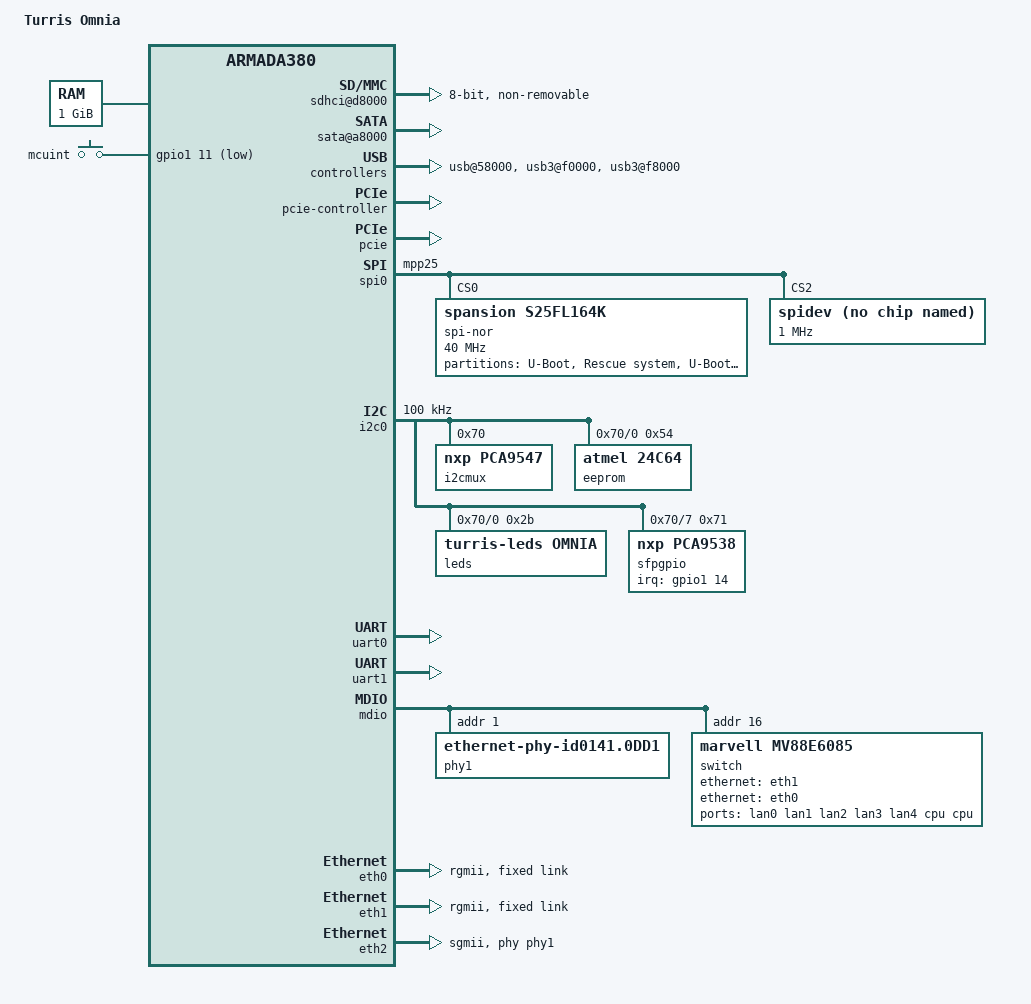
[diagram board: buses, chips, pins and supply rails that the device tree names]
/dts-v1/;

#include <dt-bindings/gpio/gpio.h>
#include <dt-bindings/input/input.h>
#include "armada-385.dtsi"

/ {
	model = "Turris Omnia";
	compatible = "marvell,armada385","marvell,armada380";

	chosen {
		bootargs = "console=ttyS0,115200";
		stdout-path = &uart0;
	};

	aliases {
		ethernet0 = &eth0;
		ethernet1 = &eth1;
		ethernet2 = &eth2;
	};

	memory {
		device_type = "memory";
		reg = <0x00000000 0x40000000>; /* 1024 MB */
	};

	soc {
		ranges = <MBUS_ID(0xf0, 0x01) 0 0xf1000000 0x100000
			  MBUS_ID(0x01, 0x1d) 0 0xfff00000 0x100000
			  MBUS_ID(0x09, 0x19) 0 0xf1100000 0x10000
			  MBUS_ID(0x09, 0x15) 0 0xf1110000 0x10000>;

		internal-regs {
			sdhci@d8000 {
				status = "okay";
				bus-width = <8>;
				no-1-8-v;
				non-removable;
			};

			sata@a8000 {
				status = "okay";
			};

			/* USB part of the eSATA/USB 2.0 port */
			usb@58000 {
				status = "okay";
			};

			/* 2x external USB3 */
			usb3@f0000 {
				status = "okay";
			};

			usb3@f8000 {
				status = "okay";
			};
		};

		pcie-controller {
			status = "okay";

			pcie@1,0 {
				/* Port 0, Lane 0 */
				status = "okay";
			};

			pcie@2,0 {
				/* Port 2, Lane 0 */
				status = "okay";
			};

			pcie@3,0 {
				/* Port 3, Lane 0 */
				status = "okay";
			};

		};
	};

	gpio-keys {
		compatible = "gpio-keys";
		#address-cells = <1>;
		#size-cells = <0>;

		button@212 {
			label = "mcuint";
			linux,code = <BTN_MISC>;
			gpios = <&gpio1 11 GPIO_ACTIVE_LOW>;
			debounce-interval = <0>;
		};
	};

	mvsw61xx {
		status = "okay";
		compatible = "marvell,88e6176";
		reg = <0x10>;
		is-indirect;
		mii-bus = <&mdio>;
		cpu-port-0 = <5>;
		cpu-port-1 = <6>;

		/* IRQ connected to MPP45. */
		/* interrupt-parent = <&gpio1>;
		interrupts = <13 IRQ_TYPE_LEVEL_LOW>; */
	};
};

&spi0 {
	status = "okay";

	spi-nor@0 {
		compatible = "spansion,s25fl164k", "jedec,spi-nor";
		#address-cells = <1>;
		#size-cells = <1>;
		reg = <0>;
		spi-max-frequency = <40000000>;

		partition@0 {
			reg = <0x0 0x00100000>;
			label = "U-Boot";
		};
		partition@1 {
			reg = <0x00100000 0x00700000>;
			label = "Rescue system";
		};

	};
	spidev@2 {
		spi-max-frequency = <1000000>;
		reg = <2>;
		compatible = "linux,spidev";
	};
};

&i2c0 {
	pinctrl-names = "default";
	pinctrl-0 = <&i2c0_pins>;
	status = "okay";
	clock-frequency = <100000>;

	i2cmux@70 {
		compatible = "nxp,pca9547";
		#address-cells = <1>;
		#size-cells = <0>;
		reg = <0x70>;
		status = "okay";
		i2c@0 {
			#address-cells = <1>;
			#size-cells = <0>;
			reg = <0>;
			status = "okay";

			/* Config memory */
			eeprom@54 {
				compatible = "at,24c64";
				reg = <0x54>;
			};

			/* Additional device: STM-32, address 0x2a, INT on 43. */
			leds@2b {
				compatible = "turris-leds,omnia";
				reg = <0x2b>;
				#address-cells = <1>;
				#size-cells = <0>;

				led0 {
					label = "user2";
					reg = <0x0>;
				};

				led1 {
					label = "user1";
					reg = <0x1>;
				};

				led2 {
					label = "pci3";
					reg = <0x2>;
				};

				led3 {
					label = "pci2";
					reg = <0x3>;
				};

				led4 {
					label = "pci1";
					reg = <0x4>;
				};

				led5 {
					label = "wan";
					reg = <0x5>;
				};

				led6 {
					label = "lan4";
					reg = <0x6>;
				};

				led7 {
					label = "lan3";
					reg = <0x7>;
				};

				led8 {
					label = "lan2";
					reg = <0x8>;
				};

				led9 {
					label = "lan1";
					reg = <0x9>;
				};

				led10 {
					label = "lan0";
					reg = <0xa>;
				};

				led11 {
					label = "power";
					reg = <0xb>;
				};

				led12 {
					label = "all";
					reg = <0xc>;
				};
			};
		};

		i2c@1 {
			/* SATA */
			#address-cells = <1>;
			#size-cells = <0>;
			reg = <1>;
		};

		i2c@2 {
			/* PCI 1 */
			#address-cells = <1>;
			#size-cells = <0>;
			reg = <2>;
		};

		i2c@3 {
			/* PCI 0 */
			#address-cells = <1>;
			#size-cells = <0>;
			reg = <3>;
		};

		i2c@4 {
			/* SFP */
			#address-cells = <1>;
			#size-cells = <0>;
			reg = <4>;
		};

		i2c@5 {
			/* ATSHA */
			#address-cells = <1>;
			#size-cells = <0>;
			reg = <5>;
		};

		i2c@6 {
			/* User GPIO header */
			#address-cells = <1>;
			#size-cells = <0>;
			reg = <6>;
		};

		i2c@7 {
			/* SFP+ GPIO expander */
			#address-cells = <1>;
			#size-cells = <0>;
			reg = <7>;

			sfpgpio: gpio@71 {
				compatible = "nxp,pca9538";
				reg = <0x71>;
				interrupt-parent = <&gpio1>;
				interrupts = <14 IRQ_TYPE_LEVEL_LOW>;
				gpio-controller;
				#gpio-cells = <2>;
			};
		};
	};
};

&uart0 {
	pinctrl-names = "default";
	pinctrl-0 = <&uart0_pins>;
	status = "okay";
};

&uart1 {
	pinctrl-names = "default";
	pinctrl-0 = <&uart1_pins>;
	status = "okay";
};

&mdio {
	status = "okay";

	phy1: phy@1 {
		status = "okay";
		compatible = "marvell,88E1514", "marvell,88E1510", "ethernet-phy-ieee802.3-c22";
		reg = <1>;
		/* IRQ connected to MPP46. */
		/* interrupt-parent = <&gpio1>;
		interrupts = <14 IRQ_TYPE_LEVEL_LOW>; */
	};
};

&eth0 {
	status = "okay";
	pinctrl-0 = <&ge0_rgmii_pins>;
	phy-mode = "rgmii-id";

	fixed-link {
		speed = <1000>;
		full-duplex;
	};
};

&eth1 {
	status = "okay";
	pinctrl-0 = <&ge1_rgmii_pins>;
	phy-mode = "rgmii-id";

	fixed-link {
		speed = <1000>;
		full-duplex;
	};
};

&eth2 {
	status = "okay";

	phy-def {
		phy-mode = "sgmii";
		phy = <&phy1>;
	};

	phy-sfp {
		phy-mode = "sgmii";
		managed = "1000base-x";

		fixed-link {
			speed = <1000>;
			full-duplex;
		};
	};

	phy-sfp-noneg {
		phy-mode = "sgmii";
		managed = "1000base-x-noneg";

		fixed-link {
			speed = <1000>;
			full-duplex;
		};
	};

	phy-sfp-sgmii {
		phy-mode = "sgmii";
		managed = "in-band-status";

		fixed-link {
			speed = <1000>;
			full-duplex;
		};
	};
};

&pinctrl {
	user_pin: user-pin {
		marvell,pins = "mpp18", "mpp33", "mpp34", "mpp35", "mpp36",
				"mpp42", "mpp44", "mpp47", "mpp51", "mpp56";
		marvell,function = "gpio";
	};
};

/*
 * Device Tree file for the Turris Omnia
 *
 * Copyright (C) 2016 Uwe Kleine-König <uwe@kleine-koenig.org>
 * Copyright (C) 2016 Tomas Hlavacek <tmshlvkc@gmail.com>
 *
 * This file is dual-licensed: you can use it either under the terms
 * of the GPL or the X11 license, at your option. Note that this dual
 * licensing only applies to this file, and not this project as a
 * whole.
 *
 *  a) This file is licensed under the terms of the GNU General Public
 *     License version 2.  This program is licensed "as is" without
 *     any warranty of any kind, whether express or implied.
 *
 * Or, alternatively,
 *
 *  b) Permission is hereby granted, free of charge, to any person
 *     obtaining a copy of this software and associated documentation
 *     files (the "Software"), to deal in the Software without
 *     restriction, including without limitation the rights to use,
 *     copy, modify, merge, publish, distribute, sublicense, and/or
 *     sell copies of the Software, and to permit persons to whom the
 *     Software is furnished to do so, subject to the following
 *     conditions:
 *
 *     The above copyright notice and this permission notice shall be
 *     included in all copies or substantial portions of the Software.
 *
 *     THE SOFTWARE IS PROVIDED "AS IS", WITHOUT WARRANTY OF ANY KIND,
 *     EXPRESS OR IMPLIED, INCLUDING BUT NOT LIMITED TO THE WARRANTIES
 *     OF MERCHANTABILITY, FITNESS FOR A PARTICULAR PURPOSE AND
 *     NONINFRINGEMENT. IN NO EVENT SHALL THE AUTHORS OR COPYRIGHT
 *     HOLDERS BE LIABLE FOR ANY CLAIM, DAMAGES OR OTHER LIABILITY,
 *     WHETHER IN AN ACTION OF CONTRACT, TORT OR OTHERWISE, ARISING
 *     FROM, OUT OF OR IN CONNECTION WITH THE SOFTWARE OR THE USE OR
 *     OTHER DEALINGS IN THE SOFTWARE.
 */

/*
 * Schematic available at https://www.turris.cz/doc/_media/rtrom01-schema.pdf
 */

/dts-v1/;

#include <dt-bindings/gpio/gpio.h>
#include <dt-bindings/input/input.h>
#include "armada-385.dtsi"

/ {
	model = "Turris Omnia";
	compatible = "cznic,turris-omnia", "marvell,armada385", "marvell,armada380";

	chosen {
		stdout-path = &uart0;
	};

	memory {
		device_type = "memory";
		reg = <0x00000000 0x40000000>; /* 1024 MB */
	};

	soc {
		ranges = <MBUS_ID(0xf0, 0x01) 0 0xf1000000 0x100000
			  MBUS_ID(0x01, 0x1d) 0 0xfff00000 0x100000
			  MBUS_ID(0x09, 0x19) 0 0xf1100000 0x10000
			  MBUS_ID(0x09, 0x15) 0 0xf1110000 0x10000>;

		internal-regs {

			/* USB part of the PCIe2/USB 2.0 port */
			usb@58000 {
				status = "okay";
			};

			sata@a8000 {
				status = "okay";
			};

			sdhci@d8000 {
				pinctrl-names = "default";
				pinctrl-0 = <&sdhci_pins>;
				status = "okay";

				bus-width = <8>;
				no-1-8-v;
				non-removable;
			};

			usb3@f0000 {
				status = "okay";
			};

			usb3@f8000 {
				status = "okay";
			};
		};

		pcie {
			status = "okay";

			pcie@1,0 {
				/* Port 0, Lane 0 */
				status = "okay";
			};

			pcie@2,0 {
				/* Port 1, Lane 0 */
				status = "okay";
			};

			pcie@3,0 {
				/* Port 2, Lane 0 */
				status = "okay";
			};
		};
	};
};

/* Connected to 88E6176 switch, port 6 */
&eth0 {
	pinctrl-names = "default";
	pinctrl-0 = <&ge0_rgmii_pins>;
	status = "okay";
	phy-mode = "rgmii";

	fixed-link {
		speed = <1000>;
		full-duplex;
	};
};

/* Connected to 88E6176 switch, port 5 */
&eth1 {
	pinctrl-names = "default";
	pinctrl-0 = <&ge1_rgmii_pins>;
	status = "okay";
	phy-mode = "rgmii";

	fixed-link {
		speed = <1000>;
		full-duplex;
	};
};

/* WAN port */
&eth2 {
	status = "okay";
	phy-mode = "sgmii";
	phy = <&phy1>;
};

&i2c0 {
	pinctrl-names = "default";
	pinctrl-0 = <&i2c0_pins>;
	status = "okay";

	i2cmux@70 {
		compatible = "nxp,pca9547";
		#address-cells = <1>;
		#size-cells = <0>;
		reg = <0x70>;
		status = "okay";

		i2c@0 {
			#address-cells = <1>;
			#size-cells = <0>;
			reg = <0>;

			/* STM32F0 command interface at address 0x2a */
			/* leds device (in STM32F0) at address 0x2b */

			eeprom@54 {
				compatible = "atmel,24c64";
				reg = <0x54>;

				/* The EEPROM contains data for bootloader.
				 * Contents:
				 * 	struct omnia_eeprom {
				 * 		u32 magic; (=0x0341a034 in LE)
				 *		u32 ramsize; (in GiB)
				 * 		char regdomain[4];
				 * 		u32 crc32;
				 * 	};
				 */
			};
		};

		i2c@1 {
			#address-cells = <1>;
			#size-cells = <0>;
			reg = <1>;

			/* routed to PCIe0/mSATA connector (CN7A) */
		};

		i2c@2 {
			#address-cells = <1>;
			#size-cells = <0>;
			reg = <2>;

			/* routed to PCIe1/USB2 connector (CN61A) */
		};

		i2c@3 {
			#address-cells = <1>;
			#size-cells = <0>;
			reg = <3>;

			/* routed to PCIe2 connector (CN62A) */
		};

		i2c@4 {
			#address-cells = <1>;
			#size-cells = <0>;
			reg = <4>;

			/* routed to SFP+ */
		};

		i2c@5 {
			#address-cells = <1>;
			#size-cells = <0>;
			reg = <5>;

			/* ATSHA204A at address 0x64 */
		};

		i2c@6 {
			#address-cells = <1>;
			#size-cells = <0>;
			reg = <6>;

			/* exposed on pin header */
		};

		i2c@7 {
			#address-cells = <1>;
			#size-cells = <0>;
			reg = <7>;

			pcawan: gpio@71 {
				/*
				 * GPIO expander for SFP+ signals and
				 * and phy irq
				 */
				compatible = "nxp,pca9538";
				reg = <0x71>;

				pinctrl-names = "default";
				pinctrl-0 = <&pcawan_pins>;

				interrupt-parent = <&gpio1>;
				interrupts = <14 IRQ_TYPE_LEVEL_LOW>;

				gpio-controller;
				#gpio-cells = <2>;
			};
		};
	};
};

&mdio {
	pinctrl-names = "default";
	pinctrl-0 = <&mdio_pins>;
	status = "okay";

	phy1: phy@1 {
		status = "okay";
		compatible = "ethernet-phy-id0141.0DD1", "ethernet-phy-ieee802.3-c22";
		reg = <1>;
		marvell,reg-init = <3 18 0 0x4985>;

		/* irq is connected to &pcawan pin 7 */
	};

	/* Switch MV88E6176 at address 0x10 */
	switch@10 {
		compatible = "marvell,mv88e6085";
		#address-cells = <1>;
		#size-cells = <0>;
		dsa,member = <0 0>;

		reg = <0x10>;

		ports {
			#address-cells = <1>;
			#size-cells = <0>;

			ports@0 {
				reg = <0>;
				label = "lan0";
			};

			ports@1 {
				reg = <1>;
				label = "lan1";
			};

			ports@2 {
				reg = <2>;
				label = "lan2";
			};

			ports@3 {
				reg = <3>;
				label = "lan3";
			};

			ports@4 {
				reg = <4>;
				label = "lan4";
			};

			ports@5 {
				reg = <5>;
				label = "cpu";
				ethernet = <&eth1>;
				phy-mode = "rgmii-id";

				fixed-link {
					speed = <1000>;
					full-duplex;
				};
			};

			ports@6 {
				reg = <6>;
				label = "cpu";
				ethernet = <&eth0>;
				phy-mode = "rgmii-id";

				fixed-link {
					speed = <1000>;
					full-duplex;
				};
			};
		};
	};
};

&pinctrl {
	pcawan_pins: pcawan-pins {
		marvell,pins = "mpp46";
		marvell,function = "gpio";
	};

	spi0cs0_pins: spi0cs0-pins {
		marvell,pins = "mpp25";
		marvell,function = "spi0";
	};

	spi0cs2_pins: spi0cs2-pins {
		marvell,pins = "mpp26";
		marvell,function = "spi0";
	};
};

&spi0 {
	pinctrl-names = "default";
	pinctrl-0 = <&spi0_pins &spi0cs0_pins>;
	status = "okay";

	spi-nor@0 {
		compatible = "spansion,s25fl164k", "jedec,spi-nor";
		#address-cells = <1>;
		#size-cells = <1>;
		reg = <0>;
		spi-max-frequency = <40000000>;

		partitions {
			compatible = "fixed-partitions";
			#address-cells = <1>;
			#size-cells = <1>;

			partition@0 {
				reg = <0x0 0x00100000>;
				label = "U-Boot";
			};

			partition@100000 {
				reg = <0x00100000 0x00700000>;
				label = "Rescue system";
			};
		};
	};

	/* MISO, MOSI, SCLK and CS2 are routed to pin header CN11 */
};

&uart0 {
	/* Pin header CN10 */
	pinctrl-names = "default";
	pinctrl-0 = <&uart0_pins>;
	status = "okay";
};

&uart1 {
	/* Pin header CN11 */
	pinctrl-names = "default";
	pinctrl-0 = <&uart1_pins>;
	status = "okay";
};
